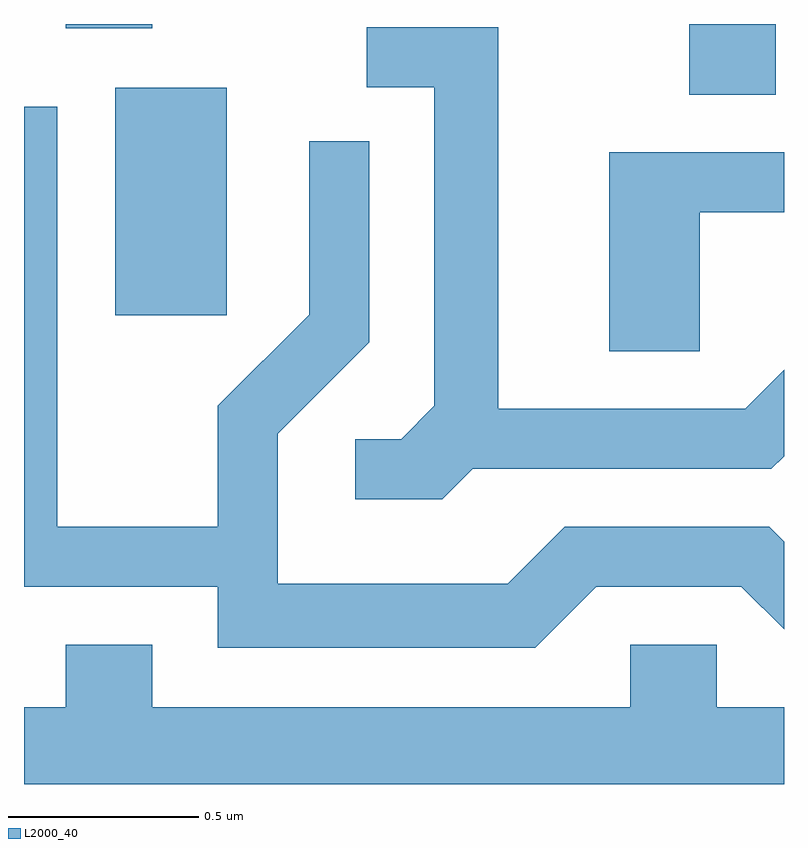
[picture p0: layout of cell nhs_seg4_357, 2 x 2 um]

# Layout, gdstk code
import gdstk
lib = gdstk.Library(unit=1e-6, precision=1e-09)
def R(c, l, rs):  # rectangles x0, y0, x1, y1
    for r in rs: c.add(gdstk.rectangle(r[:2], r[2:], *l))
def P(c, l, *ps):  # polygons
    for p in ps: c.add(gdstk.Polygon(p, *l))
L2000_40 = (2000, 40)

nhs_seg4_357 = lib.new_cell('nhs_seg4_357')
R(nhs_seg4_357, L2000_40, [(187.851,1338.216,188.144,1338.814), (189.361,1338.796,189.589,1338.982), (187.721,1338.971,187.949,1338.982)])
P(nhs_seg4_357, L2000_40, [(188.792,1337.811),(189.577,1337.811),(189.611,1337.845),(189.611,1338.072),(189.509,1337.969),(188.859,1337.969),(188.859,1338.974),(188.513,1338.974),(188.513,1338.816),(188.691,1338.816),(188.691,1337.977),(188.604,1337.889),(188.483,1337.889),(188.483,1337.731),(188.712,1337.731)],
  [(189.117,1337.501),(189.499,1337.501),(189.611,1337.389),(189.611,1337.62),(189.572,1337.659),(189.034,1337.659),(188.884,1337.509),(188.279,1337.509),(188.279,1337.904),(188.519,1338.144),(188.519,1338.673),(188.361,1338.673),(188.361,1338.217),(188.121,1337.977),(188.121,1337.659),(187.699,1337.659),(187.699,1338.764),(187.611,1338.764),(187.611,1337.501),(188.121,1337.501),(188.121,1337.341),(188.957,1337.341)],
  [(189.389,1338.486),(189.611,1338.486),(189.611,1338.644),(189.151,1338.644),(189.151,1338.121),(189.389,1338.121)],
  [(189.611,1337.184),(189.434,1337.184),(189.434,1337.349),(189.206,1337.349),(189.206,1337.184),(187.949,1337.184),(187.949,1337.349),(187.721,1337.349),(187.721,1337.184),(187.611,1337.184),(187.611,1336.982),(189.611,1336.982)])

lib.write_gds('nhs_seg4_357.gds')
